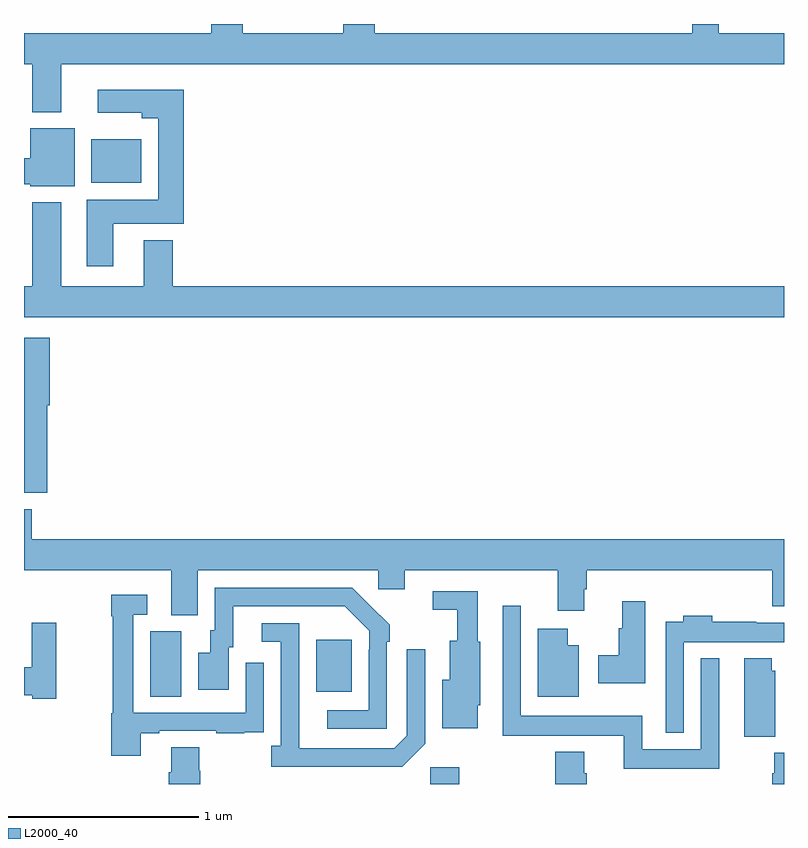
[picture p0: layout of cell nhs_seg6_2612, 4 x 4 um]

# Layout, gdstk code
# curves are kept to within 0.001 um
import gdstk
lib = gdstk.Library(unit=1e-6, precision=1e-09)
def R(c, l, rs):  # rectangles x0, y0, x1, y1
    for r in rs: c.add(gdstk.rectangle(r[:2], r[2:], *l))
def P(c, l, *ps):  # polygons
    for p in ps: c.add(gdstk.Polygon(p, *l))
L2000_40 = (2000, 40)

nhs_seg6_2612 = lib.new_cell('nhs_seg6_2612')
R(nhs_seg6_2612, L2000_40, [(267.138,991.5,267.29,991.588), (265.664,991.96,265.828,992.304), (266.537,991.985,266.725,992.26), (265.355,994.664,265.618,994.894)])
P(nhs_seg6_2612, L2000_40, [(269,995.452),(268.657,995.452),(268.657,995.5),(268.518,995.5),(268.518,995.452),(266.846,995.452),(266.846,995.5),(266.681,995.5),(266.681,995.452),(266.15,995.452),(266.15,995.5),(265.985,995.5),(265.985,995.452),(265,995.452),(265,995.288),(265.043,995.288),(265.043,995.036),(265.195,995.036),(265.195,995.288),(269,995.288)],
  [(265.471,994.448),(265.841,994.448),(265.841,995.155),(265.389,995.155),(265.389,995.033),(265.619,995.033),(265.619,995.003),(265.706,995.003),(265.706,994.576),(265.331,994.576),(265.331,994.224),(265.471,994.224)],
  [(265.267,994.951),(265.034,994.951),(265.034,994.793),(265,994.793),(265,994.657),(265.034,994.657),(265.034,994.646),(265.267,994.646)],
  [(269,994.12),(265.784,994.12),(265.784,994.363),(265.631,994.363),(265.631,994.12),(265.195,994.12),(265.195,994.561),(265.043,994.561),(265.043,994.12),(265,994.12),(265,993.956),(269,993.956)],
  [(265.123,993.494),(265.136,993.494),(265.136,993.85),(265,993.85),(265,993.032),(265.123,993.032)],
  [(265.915,992.624),(266.865,992.624),(266.865,992.526),(267.004,992.526),(267.004,992.624),(267.809,992.624),(267.809,992.412),(267.949,992.412),(267.949,992.526),(267.962,992.526),(267.962,992.624),(268.937,992.624),(268.937,992.435),(269,992.435),(269,992.788),(265.04,992.788),(265.04,992.947),(265,992.947),(265,992.624),(265.775,992.624),(265.775,992.389),(265.915,992.389)],
  [(266.91,992.249),(266.925,992.249),(266.925,992.337),(266.728,992.532),(266.004,992.532),(266.004,992.31),(265.979,992.31),(265.979,992.191),(265.916,992.191),(265.916,991.995),(266.077,991.995),(266.077,992.22),(266.101,992.22),(266.101,992.436),(266.689,992.436),(266.817,992.307),(266.817,992.207),(266.814,992.207),(266.814,991.887),(266.595,991.887),(266.595,991.791),(266.91,991.791)],
  [(267.388,991.914),(267.4,991.914),(267.4,992.25),(267.388,992.25),(267.388,992.514),(267.15,992.514),(267.15,992.417),(267.279,992.417),(267.279,992.254),(267.242,992.254),(267.242,992.05),(267.2,992.05),(267.2,991.793),(267.388,991.793)],
  [(265.615,991.767),(265.711,991.767),(265.711,991.779),(266.011,991.779),(266.011,991.767),(266.159,991.767),(266.159,991.773),(266.261,991.773),(266.261,991.882),(266.262,991.882),(266.262,992.137),(266.166,992.137),(266.166,991.875),(265.575,991.875),(265.575,992.391),(265.648,992.391),(265.648,992.497),(265.459,992.497),(265.459,992.384),(265.467,992.384),(265.467,991.872),(265.459,991.872),(265.459,991.65),(265.615,991.65)],
  [(268.27,992.461),(268.148,992.461),(268.148,992.319),(268.13,992.319),(268.13,992.178),(268.023,992.178),(268.023,992.03),(268.27,992.03)],
  [(268.66,992.161),(268.563,992.161),(268.563,991.684),(268.254,991.684),(268.254,991.858),(267.615,991.858),(267.615,992.437),(267.519,992.437),(267.519,991.754),(268.157,991.754),(268.157,991.58),(268.66,991.58)],
  [(268.473,992.246),(269,992.246),(269,992.35),(268.853,992.35),(268.853,992.353),(268.622,992.353),(268.622,992.386),(268.469,992.386),(268.469,992.353),(268.377,992.353),(268.377,991.769),(268.473,991.769)],
  [(265.17,992.35),(265.04,992.35),(265.04,992.114),(265,992.114),(265,991.967),(265.044,991.967),(265.044,991.949),(265.17,991.949)],
  [(267.111,991.713),(267.111,992.209),(267.015,992.209),(267.015,991.755),(266.949,991.689),(266.449,991.689),(266.448,992.346),(266.25,992.346),(266.25,992.25),(266.352,992.25),(266.352,991.702),(266.301,991.702),(266.301,991.592),(266.99,991.592)],
  [(267.919,992.23),(267.862,992.23),(267.862,992.317),(267.704,992.317),(267.704,991.958),(267.919,991.958)],
  [(268.954,992.097),(268.936,992.097),(268.936,992.161),(268.79,992.161),(268.79,991.75),(268.954,991.75)],
  [(265.928,991.569),(265.923,991.569),(265.923,991.694),(265.775,991.694),(265.775,991.562),(265.763,991.562),(265.763,991.5),(265.928,991.5)],
  [(267.962,991.557),(267.949,991.557),(267.949,991.669),(267.797,991.669),(267.797,991.5),(267.962,991.5)],
  [(269,991.665),(268.949,991.665),(268.949,991.556),(268.937,991.556),(268.937,991.5),(269,991.5)])

lib.write_gds('nhs_seg6_2612.gds')
